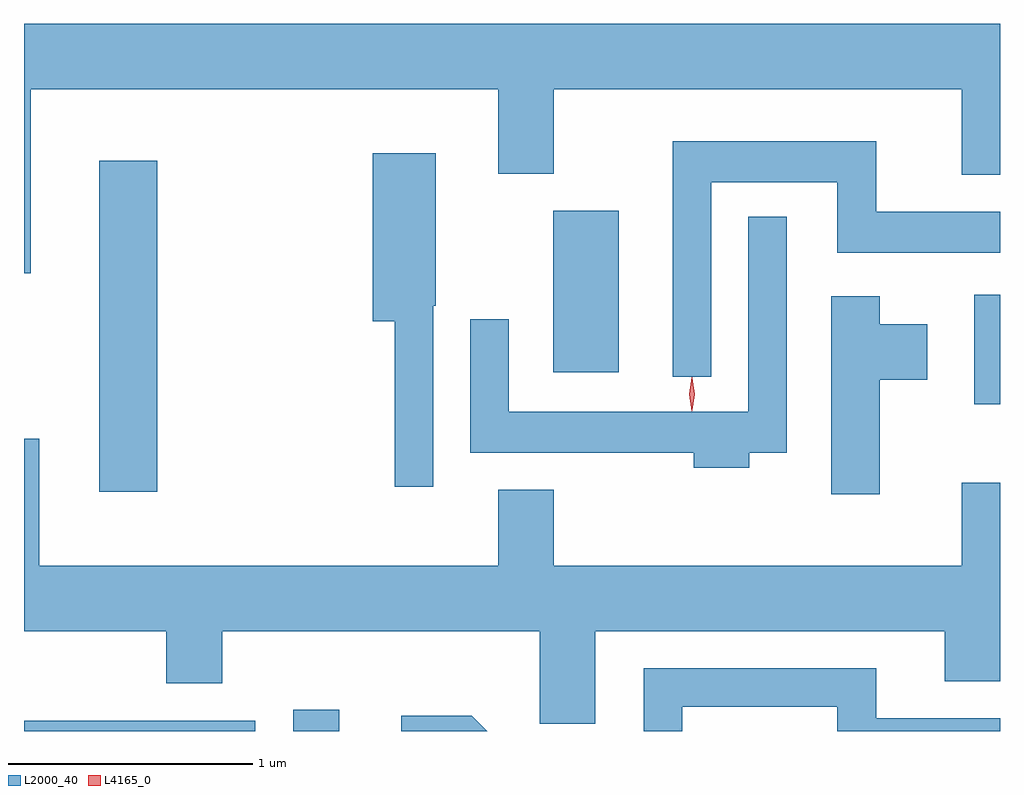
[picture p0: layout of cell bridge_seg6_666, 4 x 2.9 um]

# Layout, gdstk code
import gdstk
lib = gdstk.Library(unit=1e-6, precision=1e-09)
def R(c, l, rs):  # rectangles x0, y0, x1, y1
    for r in rs: c.add(gdstk.rectangle(r[:2], r[2:], *l))
def P(c, l, *ps):  # polygons
    for p in ps: c.add(gdstk.Polygon(p, *l))
L2000_40 = (2000, 40)
L4165_0 = (4165, 0)

bridge_seg6_666 = lib.new_cell('bridge_seg6_666')
R(bridge_seg6_666, L2000_40, [(396.247,1547.406,397.194,1547.449), (397.351,1547.406,397.539,1547.494), (396.556,1548.386,396.794,1549.744), (400.141,1548.746,400.247,1549.194), (398.416,1548.876,398.684,1549.539)])
P(bridge_seg6_666, L2000_40, [(396.274,1550.036),(398.191,1550.036),(398.191,1549.691),(398.419,1549.691),(398.419,1550.036),(400.091,1550.036),(400.091,1549.686),(400.247,1549.686),(400.247,1550.304),(396.247,1550.304),(396.247,1549.283),(396.274,1549.283)],
  [(399.064,1549.656),(399.581,1549.656),(399.581,1549.366),(400.247,1549.366),(400.247,1549.534),(399.739,1549.534),(399.739,1549.824),(398.906,1549.824),(398.906,1548.858),(399.064,1548.858)],
  [(397.924,1549.15),(397.934,1549.15),(397.934,1549.774),(397.676,1549.774),(397.676,1549.086),(397.766,1549.086),(397.766,1548.408),(397.924,1548.408)],
  [(399.219,1548.546),(399.374,1548.546),(399.374,1549.513),(399.216,1549.513),(399.216,1548.714),(398.234,1548.714),(398.234,1549.093),(398.076,1549.093),(398.076,1548.546),(398.991,1548.546),(398.991,1548.486),(399.219,1548.486)],
  [(399.754,1548.846),(399.949,1548.846),(399.949,1549.074),(399.754,1549.074),(399.754,1549.189),(399.556,1549.189),(399.556,1548.376),(399.754,1548.376)],
  [(398.589,1547.816),(400.021,1547.816),(400.021,1547.611),(400.247,1547.611),(400.247,1548.424),(400.091,1548.424),(400.091,1548.084),(398.419,1548.084),(398.419,1548.394),(398.191,1548.394),(398.191,1548.084),(396.309,1548.084),(396.309,1548.604),(396.247,1548.604),(396.247,1547.816),(396.831,1547.816),(396.831,1547.601),(397.059,1547.601),(397.059,1547.816),(398.361,1547.816),(398.361,1547.436),(398.589,1547.436)],
  [(398.944,1547.506),(399.581,1547.506),(399.581,1547.406),(400.247,1547.406),(400.247,1547.459),(399.739,1547.459),(399.739,1547.664),(398.786,1547.664),(398.786,1547.406),(398.944,1547.406)],
  [(398.082,1547.469),(397.793,1547.469),(397.793,1547.406),(398.145,1547.406)])
P(bridge_seg6_666, L4165_0, [(398.985,1548.719),(398.984,1548.72),(398.975,1548.786),(398.984,1548.852),(398.985,1548.853),(398.985,1548.852),(398.995,1548.786),(398.985,1548.72)],
  [(398.983,1548.717),(398.974,1548.787),(398.984,1548.856),(398.985,1548.856),(398.985,1548.856),(398.994,1548.786),(398.984,1548.717),(398.984,1548.717)])

lib.write_gds('bridge_seg6_666.gds')
